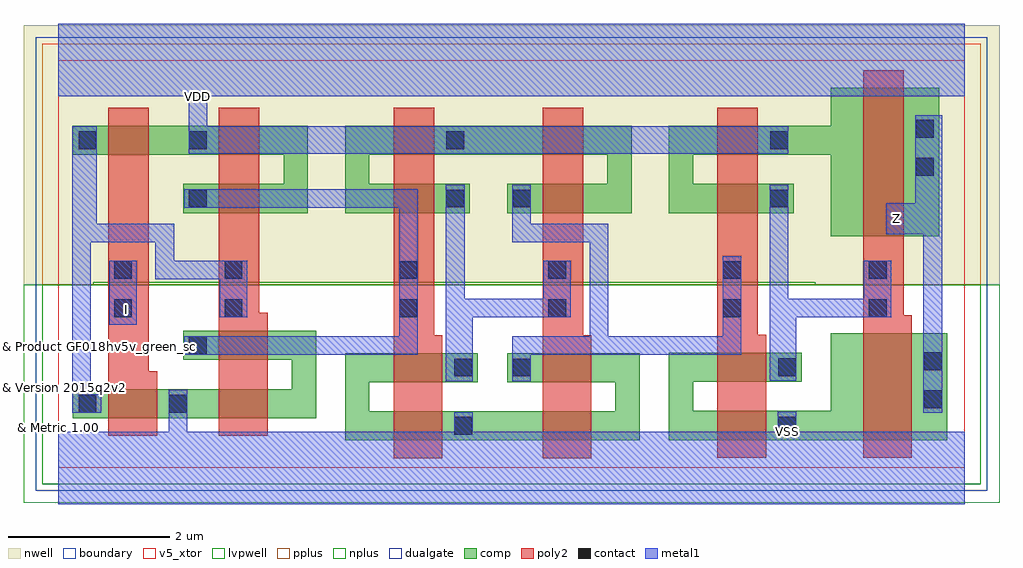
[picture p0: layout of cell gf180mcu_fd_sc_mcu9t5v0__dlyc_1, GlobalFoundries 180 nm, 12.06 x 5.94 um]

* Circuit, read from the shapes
.subckt gf180mcu_fd_sc_mcu9t5v0__dlyc_1 I VDD VSS Z
XM1 VSS I n1 VSUBS nfet_05v0 w=0.36u l=0.6u
XM2 n2 n1 VSS VSUBS nfet_05v0 w=0.36u l=0.6u
XM3 n2 n1 n3 VSUBS nfet_05v0 w=0.36u l=0.6u
XM4 VSS n3 n4 VSUBS nfet_05v0 w=0.36u l=0.6u
XM5 n5 n3 n4 VSUBS nfet_05v0 w=0.36u l=0.6u
XM6 n6 n5 VSS VSUBS nfet_05v0 w=0.36u l=0.6u
XM7 n6 n5 n7 VSUBS nfet_05v0 w=0.36u l=0.6u
XM8 VSS n7 n8 VSUBS nfet_05v0 w=0.36u l=0.6u
XM9 n9 n7 n8 VSUBS nfet_05v0 w=0.36u l=0.6u
XM10 Z n9 VSS VSUBS nfet_05v0 w=1.32u l=0.6u
XM11 VDD I n1 n10 pfet_05v0 w=0.36u l=0.5u
XM12 n11 n1 n3 n10 pfet_05v0 w=0.36u l=0.5u
XM13 n11 n1 VDD n10 pfet_05v0 w=0.36u l=0.5u
XM14 n5 n3 n12 n10 pfet_05v0 w=0.36u l=0.5u
XM15 VDD n3 n12 n10 pfet_05v0 w=0.36u l=0.5u
XM16 n13 n5 n7 n10 pfet_05v0 w=0.36u l=0.5u
XM17 n13 n5 VDD n10 pfet_05v0 w=0.36u l=0.5u
XM18 n9 n7 n14 n10 pfet_05v0 w=0.36u l=0.5u
XM19 VDD n7 n14 n10 pfet_05v0 w=0.36u l=0.5u
XM20 Z n9 VDD n10 pfet_05v0 w=1.83u l=0.5u
.ends

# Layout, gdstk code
import gdstk
lib = gdstk.Library(unit=1e-6, precision=1e-09)
def R(c, l, rs):  # rectangles x0, y0, x1, y1
    for r in rs: c.add(gdstk.rectangle(r[:2], r[2:], *l))
def P(c, l, *ps):  # polygons
    for p in ps: c.add(gdstk.Polygon(p, *l))
boundary = (0, 0)
nwell = (21, 0)
comp = (22, 0)
poly2 = (30, 0)
pplus = (31, 0)
nplus = (32, 0)
contact = (33, 0)
metal1 = (34, 0)
dualgate = (55, 0)
v5_xtor = (112, 1)
lvpwell = (204, 0)

gf180mcu_fd_sc_mcu9t5v0_ = lib.new_cell('gf180mcu_fd_sc_mcu9t5v0__dlyc_1')
R(gf180mcu_fd_sc_mcu9t5v0_, boundary, [(0,0,11.2,5.04)])
P(gf180mcu_fd_sc_mcu9t5v0_, nwell, [(-0.43,2.265),(-0.43,5.47),(11.63,5.47),(11.63,2.265),(9.355,2.265),(9.355,2.295),(0.43,2.295),(0.43,2.265)])
P(gf180mcu_fd_sc_mcu9t5v0_, comp, [(1.545,3.15),(1.545,3.51),(2.785,3.51),(2.785,3.87),(0.18,3.87),(0.18,4.23),(3.085,4.23),(3.085,3.15)],
  [(0.18,0.615),(0.18,0.975),(2.885,0.975),(2.885,1.335),(1.545,1.335),(1.545,1.695),(3.185,1.695),(3.185,0.615)],
  [(3.545,3.15),(3.545,4.23),(7.085,4.23),(7.085,3.15),(5.545,3.15),(5.545,3.51),(6.785,3.51),(6.785,3.87),(3.845,3.87),(3.845,3.51),(5.085,3.51),(5.085,3.15)],
  [(3.545,0.34),(3.545,1.42),(5.185,1.42),(5.185,1.06),(3.845,1.06),(3.845,0.7),(6.885,0.7),(6.885,1.06),(5.545,1.06),(5.545,1.42),(7.185,1.42),(7.185,0.34)],
  [(9.545,2.865),(9.545,3.87),(7.845,3.87),(7.845,3.51),(9.085,3.51),(9.085,3.15),(7.545,3.15),(7.545,4.23),(9.545,4.23),(9.545,4.695),(10.885,4.695),(10.885,2.865)],
  [(7.545,0.345),(7.545,1.425),(9.185,1.425),(9.185,1.065),(7.845,1.065),(7.845,0.705),(9.545,0.705),(9.545,1.665),(10.985,1.665),(10.985,0.345)])
P(gf180mcu_fd_sc_mcu9t5v0_, poly2, [(0.62,0.395),(0.62,4.45),(1.12,4.45),(1.12,1.195),(1.22,1.195),(1.22,0.395)],
  [(1.985,0.395),(1.985,4.45),(2.485,4.45),(2.485,1.915),(2.585,1.915),(2.585,0.395)],
  [(4.145,0.12),(4.145,4.45),(4.645,4.45),(4.645,1.64),(4.745,1.64),(4.745,0.12)],
  [(5.985,0.12),(5.985,4.45),(6.485,4.45),(6.485,1.64),(6.585,1.64),(6.585,0.12)],
  [(8.145,0.125),(8.145,4.45),(8.645,4.45),(8.645,1.645),(8.745,1.645),(8.745,0.125)],
  [(9.945,0.125),(9.945,4.915),(10.445,4.915),(10.445,1.885),(10.545,1.885),(10.545,0.125)])
R(gf180mcu_fd_sc_mcu9t5v0_, pplus, [(-0.2,2.265,11.4,5.24)])
R(gf180mcu_fd_sc_mcu9t5v0_, nplus, [(-0.2,-0.2,11.4,2.265)])
R(gf180mcu_fd_sc_mcu9t5v0_, contact, [(4.895,0.41,5.115,0.63), (8.895,0.415,9.115,0.635), (0.25,0.685,0.47,0.905), (1.37,0.685,1.59,0.905), (10.695,0.74,10.915,0.96), (4.895,1.13,5.115,1.35), (5.615,1.13,5.835,1.35), (8.895,1.135,9.115,1.355), (10.695,1.21,10.915,1.43), (1.615,1.405,1.835,1.625), (0.69,1.865,0.91,2.085), (2.055,1.865,2.275,2.085), (4.215,1.865,4.435,2.085), (6.055,1.865,6.275,2.085), (8.215,1.865,8.435,2.085), (10.015,1.865,10.235,2.085), (0.69,2.335,0.91,2.555), (2.055,2.335,2.275,2.555), (4.215,2.335,4.435,2.555), (6.055,2.335,6.275,2.555), (8.215,2.335,8.435,2.555), (10.015,2.335,10.235,2.555), (1.615,3.22,1.835,3.44), (4.795,3.22,5.015,3.44), (5.615,3.22,5.835,3.44), (8.795,3.22,9.015,3.44), (10.595,3.61,10.815,3.83), (0.25,3.94,0.47,4.16), (1.615,3.94,1.835,4.16), (4.795,3.94,5.015,4.16), (8.795,3.94,9.015,4.16), (10.595,4.08,10.815,4.3)])
R(gf180mcu_fd_sc_mcu9t5v0_, metal1, [(0.63,1.77,0.97,2.56)])
P(gf180mcu_fd_sc_mcu9t5v0_, metal1, [(0.17,0.68),(0.17,4.22),(0.475,4.22),(0.475,3.02),(1.43,3.02),(1.43,2.56),(2.335,2.56),(2.335,1.86),(1.995,1.86),(1.995,2.33),(1.2,2.33),(1.2,2.79),(0.4,2.79),(0.4,0.91),(0.53,0.91),(0.53,0.68)],
  [(1.555,1.4),(1.555,1.63),(4.21,1.63),(4.21,3.215),(1.555,3.215),(1.555,3.445),(4.44,3.445),(4.44,1.4)],
  [(4.79,1.07),(4.79,3.5),(5.02,3.5),(5.02,2.09),(5.995,2.09),(5.995,2.56),(6.335,2.56),(6.335,1.86),(5.12,1.86),(5.12,1.07)],
  [(5.61,1.07),(5.61,1.63),(6.565,1.63),(6.565,2.79),(5.61,2.79),(5.61,3.5),(5.84,3.5),(5.84,3.02),(6.795,3.02),(6.795,1.63),(8.21,1.63),(8.21,2.615),(8.44,2.615),(8.44,1.4),(5.84,1.4),(5.84,1.07)],
  [(8.79,1.075),(8.79,3.5),(9.02,3.5),(9.02,2.09),(9.955,2.09),(9.955,2.56),(10.295,2.56),(10.295,1.86),(9.12,1.86),(9.12,1.075)],
  [(10.69,0.68),(10.69,2.89),(10.23,2.89),(10.23,3.27),(10.59,3.27),(10.59,4.36),(10.92,4.36),(10.92,0.68)],
  [(0,-0.45),(0,0.45),(1.365,0.45),(1.365,0.965),(1.595,0.965),(1.595,0.45),(4.89,0.45),(4.89,0.69),(5.12,0.69),(5.12,0.45),(8.89,0.45),(8.89,0.695),(9.12,0.695),(9.12,0.45),(11.2,0.45),(11.2,-0.45)],
  [(1.61,3.88),(1.61,4.59),(0,4.59),(0,5.49),(11.2,5.49),(11.2,4.59),(1.84,4.59),(1.84,4.22),(9.02,4.22),(9.02,3.88)])
R(gf180mcu_fd_sc_mcu9t5v0_, dualgate, [(-0.28,-0.28,11.48,5.32)])
R(gf180mcu_fd_sc_mcu9t5v0_, v5_xtor, [(0,0,11.2,5.04)])
P(gf180mcu_fd_sc_mcu9t5v0_, lvpwell, [(-0.43,-0.43),(-0.43,2.265),(0.43,2.265),(0.43,2.295),(9.355,2.295),(9.355,2.265),(11.63,2.265),(11.63,-0.43)])
gf180mcu_fd_sc_mcu9t5v0_.add(gdstk.Label('I', (0.84,1.96), layer=34, texttype=10))
gf180mcu_fd_sc_mcu9t5v0_.add(gdstk.Label('VDD', (1.725,4.585), layer=34, texttype=10))
gf180mcu_fd_sc_mcu9t5v0_.add(gdstk.Label('VSS', (9.005,0.45), layer=34, texttype=10))
gf180mcu_fd_sc_mcu9t5v0_.add(gdstk.Label('Z', (10.36,3.08), layer=34, texttype=10))
gf180mcu_fd_sc_mcu9t5v0_.add(gdstk.Label('& Vendor GLOBALFOUNDRIES', (0,2), layer=63, texttype=63))
gf180mcu_fd_sc_mcu9t5v0_.add(gdstk.Label('& Product GF018hv5v_green_sc9', (0,1.5), layer=63, texttype=63))
gf180mcu_fd_sc_mcu9t5v0_.add(gdstk.Label('& Version 2015q2v2', (0,1), layer=63, texttype=63))
gf180mcu_fd_sc_mcu9t5v0_.add(gdstk.Label('& Metric 1.00', (0,0.5), layer=63, texttype=63))

lib.write_gds('gf180mcu_fd_sc_mcu9t5v0__dlyc_1.gds')
